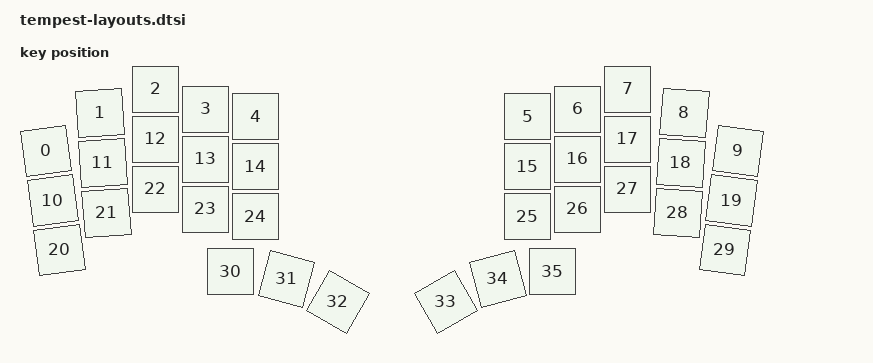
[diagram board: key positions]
/*
 * Physical layout for the tempest shield - 36 keys, 5 columns
 * per half plus a three-key thumb cluster.
 *
 * WHY THIS FILE EXISTS
 *
 * Both shields previously described the matrix with the legacy
 * `chosen { zmk,matrix_transform = &default_transform; }`. ZMK treats that
 * choice as excluding physical layouts entirely:
 *
 *     #define USE_PHY_LAYOUTS (DT_HAS_COMPAT_STATUS_OKAY(zmk_physical_layout)
 *                              && !DT_HAS_CHOSEN(zmk,matrix_transform))
 *     BUILD_ASSERT(!CONFIG_ZMK_STUDIO || USE_PHY_LAYOUTS, "ISSUE FOUND: ...");
 *
 * so CONFIG_ZMK_STUDIO=y could not be enabled. A `zmk,physical-layout` with a
 * `keys` array is what Studio needs, and per ZMK's documentation it must not
 * coexist with the `chosen zmk,matrix-transform` property.
 *
 * The transform itself is UNCHANGED - same 10 columns, 4 rows and 36 positions
 * as before, now referenced by the layout instead of by `chosen`. Nothing about
 * the keymap or the wiring changes.
 *
 * WHERE THE GEOMETRY COMES FROM
 *
 * The 36 key_physical_attrs rows are the physical positions already recorded in
 * config/tempest.json (the keymap-drawer layout used for the drawings). Values
 * are keyunits * 100, i.e. centi-keyunits as ZMK expects, and the order is the
 * SAME as the matrix transform order so position N in this array is position N
 * in the keymap. Negative rotations use devicetree parentheses.
 *
 * The geometry is config/tempest.json. The tempest and seppelit shields are
 * byte-identical apart from their names, so this file is too.
 */

#include <physical_layouts.dtsi>

/ {
    tempest_layout: tempest_layout {
        compatible = "zmk,physical-layout";
        display-name = "Tempest 36";

        kscan = <&kscan0>;
        transform = <&default_transform>;

        keys  //                     w   h      x      y     rot     rx     ry
            = <&key_physical_attrs 100 100       6     124  (-800)     56    174>
            , <&key_physical_attrs 100 100     114      48  (-400)    164     98>
            , <&key_physical_attrs 100 100     226       0       0      0      0>
            , <&key_physical_attrs 100 100     326      40       0      0      0>
            , <&key_physical_attrs 100 100     426      55       0      0      0>
            , <&key_physical_attrs 100 100     970      55       0      0      0>
            , <&key_physical_attrs 100 100    1070      40       0      0      0>
            , <&key_physical_attrs 100 100    1170       0       0      0      0>
            , <&key_physical_attrs 100 100    1283      48     400   1333     98>
            , <&key_physical_attrs 100 100    1390     124     800   1440    174>
            , <&key_physical_attrs 100 100      20     223  (-800)     70    273>
            , <&key_physical_attrs 100 100     120     148  (-400)    170    198>
            , <&key_physical_attrs 100 100     226     100       0      0      0>
            , <&key_physical_attrs 100 100     326     140       0      0      0>
            , <&key_physical_attrs 100 100     426     155       0      0      0>
            , <&key_physical_attrs 100 100     970     155       0      0      0>
            , <&key_physical_attrs 100 100    1070     140       0      0      0>
            , <&key_physical_attrs 100 100    1170     100       0      0      0>
            , <&key_physical_attrs 100 100    1276     148     400   1326    198>
            , <&key_physical_attrs 100 100    1377     223     800   1427    273>
            , <&key_physical_attrs 100 100      33     322  (-800)     83    372>
            , <&key_physical_attrs 100 100     127     248  (-400)    177    298>
            , <&key_physical_attrs 100 100     226     200       0      0      0>
            , <&key_physical_attrs 100 100     326     240       0      0      0>
            , <&key_physical_attrs 100 100     426     255       0      0      0>
            , <&key_physical_attrs 100 100     970     255       0      0      0>
            , <&key_physical_attrs 100 100    1070     240       0      0      0>
            , <&key_physical_attrs 100 100    1170     200       0      0      0>
            , <&key_physical_attrs 100 100    1270     248     400   1320    298>
            , <&key_physical_attrs 100 100    1364     322     800   1414    372>
            , <&key_physical_attrs 100 100     376     365       0      0      0>
            , <&key_physical_attrs 100 100     487     380    1500    537    430>
            , <&key_physical_attrs 100 100     590     426    3000    640    476>
            , <&key_physical_attrs 100 100     806     426 (-3000)    856    476>
            , <&key_physical_attrs 100 100     910     380 (-1500)    960    430>
            , <&key_physical_attrs 100 100    1020     365       0      0      0>
            ;
    };
};
